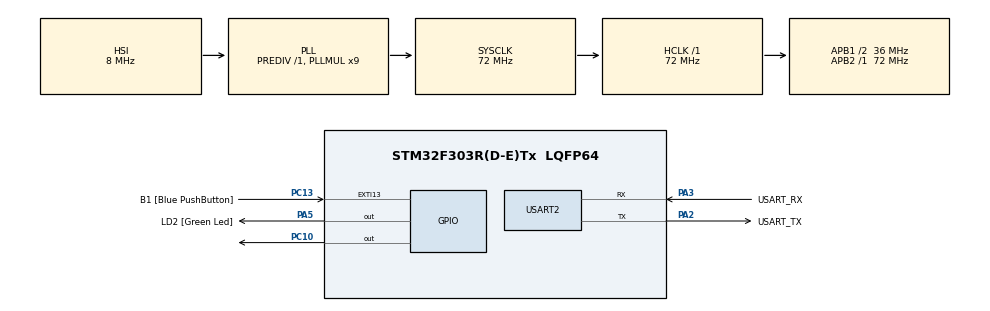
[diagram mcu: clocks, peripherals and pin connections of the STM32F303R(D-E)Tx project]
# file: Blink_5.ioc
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Mcu.Family=STM32F3
Mcu.Name=STM32F303R(D-E)Tx
Mcu.Package=LQFP64
NVIC.PriorityGroup=NVIC_PRIORITYGROUP_0
PA13.GPIO_Label=TMS
PA13.Mode=Serial_Wire
PA13.Signal=SYS_JTMS-SWDIO
PA14.GPIO_Label=TCK
PA14.Mode=Serial_Wire
PA14.Signal=SYS_JTCK-SWCLK
PA2.GPIO_Label=USART_TX
PA2.GPIO_Mode=GPIO_MODE_AF_PP
PA2.GPIO_PuPd=GPIO_NOPULL
PA2.GPIO_Speed=GPIO_SPEED_FREQ_LOW
PA2.Mode=Asynchronous
PA2.Signal=USART2_TX
PA3.GPIO_Label=USART_RX
PA3.GPIO_Mode=GPIO_MODE_AF_PP
PA3.GPIO_PuPd=GPIO_NOPULL
PA3.GPIO_Speed=GPIO_SPEED_FREQ_LOW
PA3.Mode=Asynchronous
PA3.Signal=USART2_RX
PA5.GPIO_Label=LD2 [Green Led]
PA5.GPIO_Mode=GPIO_MODE_OUTPUT_PP
PA5.GPIO_PuPd=GPIO_NOPULL
PA5.GPIO_Speed=GPIO_SPEED_FREQ_LOW
PA5.Signal=GPIO_Output
PB3.GPIO_Label=SWO
PB3.Signal=SYS_JTDO-TRACESWO
PC10.Signal=GPIO_Output
PC13.GPIO_Label=B1 [Blue PushButton]
PC13.GPIO_ModeDefaultEXTI=GPIO_MODE_IT_FALLING
PC13.Signal=GPXTI13
PC14-OSC32_IN.Mode=LSE-External-Oscillator
PC14-OSC32_IN.Signal=RCC_OSC32_IN
PC15-OSC32_OUT.Mode=LSE-External-Oscillator
PC15-OSC32_OUT.Signal=RCC_OSC32_OUT
PF0-OSC_IN.Mode=HSE-External-Clock-Source
PF0-OSC_IN.Signal=RCC_OSC_IN
PF1-OSC_OUT.Signal=RCC_OSC_OUT
ProjectManager.HeapSize=0x200
ProjectManager.StackSize=0x400
ProjectManager.TargetToolchain=STM32CubeIDE
RCC.AHBFreq_Value=72000000
RCC.APB1CLKDivider=RCC_HCLK_DIV2
RCC.APB1Freq_Value=36000000
RCC.APB1TimFreq_Value=72000000
RCC.APB2Freq_Value=72000000
RCC.APB2TimFreq_Value=72000000
RCC.CortexFreq_Value=72000000
RCC.HCLKFreq_Value=72000000
RCC.HSE_VALUE=8000000
RCC.HSI_VALUE=8000000
RCC.PLLM=8
RCC.PLLMUL=RCC_PLL_MUL9
RCC.PLLN=336
RCC.PLLP=RCC_PLLP_DIV4
RCC.PLLQ=7
RCC.RCC_PLLsource_Clock_Source_FROM_HSE=RCC_HSE_PREDIV_DIV2
RCC.SYSCLKFreq_VALUE=72000000
RCC.SYSCLKSourceVirtual=RCC_SYSCLKSOURCE_PLLCLK
RCC.USBFreq_Value=72000000
USART2.VirtualMode-Asynchronous=VM_ASYNC
board=NUCLEO-F303RE

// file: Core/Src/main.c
/* USER CODE BEGIN Header */
/**
  ******************************************************************************
  * @file           : main.c
  * @brief          : Main program body
  ******************************************************************************
  * @attention
  *
  * Copyright (c) 2026 STMicroelectronics.
  * All rights reserved.
  *
  * This software is licensed under terms that can be found in the LICENSE file
  * in the root directory of this software component.
  * If no LICENSE file comes with this software, it is provided AS-IS.
  *
  ******************************************************************************
  */
/* USER CODE END Header */
#include "main.h"

/* USER CODE BEGIN Includes */
#include <string.h>
#include <stdlib.h>
#include <stdio.h>

/* USER CODE END Includes */

UART_HandleTypeDef huart2;

void SystemClock_Config(void);
static void MX_GPIO_Init(void);
static void MX_USART2_UART_Init(void);

/* USER CODE BEGIN 0 */
void uart_send(char *msg)
	{
	HAL_UART_Transmit(&huart2, (uint8_t*)msg, strlen(msg), HAL_MAX_DELAY);
	}

void Command_processor(char *cmd)
	{
	if(strcmp(cmd, "led on") == 0)
	{
		HAL_GPIO_WritePin(GPIOC, GPIO_PIN_10, GPIO_PIN_SET);
		uart_send("LED is ON \r\n");
	}
	else if(strcmp(cmd, "led off") == 0)
	{
		HAL_GPIO_WritePin(GPIOC, GPIO_PIN_10, GPIO_PIN_RESET);
		uart_send("LED is OFF \r\n");
	}
	else if(strcmp(cmd, "status") == 0)
	{
		HAL_GPIO_WritePin(GPIOC, GPIO_PIN_10, GPIO_PIN_SET);
		uart_send("LED: ON \r\nBaud rate: 38400 \r\n");
	}
	else if(strcmp(cmd, "help") == 0)
	{
		uart_send("Available commands: \r\n help \r\n status \r\n led on \r\n led off \r\n blink <count> <delay> \r\n Example: \r\n blink 5 500 \r\n");
	}
	else if(strncmp(cmd, "blink", 5) == 0)
	{
	    // шукаємо перший пробіл після "blink"
	    char *space1 = strchr(cmd, ' ');
	    if(space1 == NULL)
	    {
	        uart_send("error: missing parameters\r\n");
	        return;
	    }

	    // перший аргумент (кількість блимів)
	    char *arg1 = space1 + 1;
	    while(*arg1 == ' ')
	        arg1++;

	    if(*arg1 == '\0')
	    {
	        uart_send("error: missing first parameter\r\n");
	        return;
	    }

	    // шукаємо пробіл між першим і другим параметром
	    char *space2 = strchr(arg1, ' ');
	    if(space2 == NULL)
	    {
	        uart_send("error: missing second parameter\r\n");
	        return;
	    }

	    *space2 = '\0';

	    // другий аргумент (затримка)
	    char *arg2 = space2 + 1;
	    while(*arg2 == ' ')
	        arg2++;

	    if(*arg2 == '\0')
	    {
	        uart_send("error: missing second parameter\r\n");
	        return;
	    }

	    // перевірка, що перший параметр — тільки цифри
	    for(int i = 0; arg1[i] != '\0'; i++)
	    {
	        if(arg1[i] < '0' || arg1[i] > '9')
	        {
	            uart_send("error: invalid first number\r\n");
	            return;
	        }
	    }

	    // перевірка, що другий параметр — тільки цифри
	    for(int i = 0; arg2[i] != '\0'; i++)
	    {
	        if(arg2[i] < '0' || arg2[i] > '9')
	        {
	            uart_send("error: invalid second number\r\n");
	            return;
	        }
	    }

	    int cnt   = atoi(arg1);
	    int delay = atoi(arg2);

	    if(cnt < 1 || cnt > 5)
	    {
	        uart_send("error: count is out of range\r\n");
	        return;
	    }

	    if(delay < 10 || delay > 2000)
	    {
	        uart_send("error: delay is out of range\r\n");
	        return;
	    }

	    for(int blk = 0; blk < cnt; blk++)
	    {
	        HAL_GPIO_WritePin(GPIOC, GPIO_PIN_10, GPIO_PIN_SET);
	        HAL_Delay(delay);
	        HAL_GPIO_WritePin(GPIOC, GPIO_PIN_10, GPIO_PIN_RESET);
	        HAL_Delay(delay);
	    }

	    uart_send("Blink is done\r\n");
	}

	else
	{
		uart_send("Unknown command, please, try again \r\n");
	}
	}
/* USER CODE END 0 */

int main(void)
{

  /* USER CODE BEGIN 1 */
	char buffer[32];
	uint8_t idx = 0;
	uint8_t rx;

  /* USER CODE END 1 */

  /* MCU Configuration--------------------------------------------------------*/

  /* Reset of all peripherals, Initializes the Flash interface and the Systick. */
  HAL_Init();

  /* Configure the system clock */
  SystemClock_Config();

  /* Initialize all configured peripherals */
  MX_GPIO_Init();
  MX_USART2_UART_Init();

  /* Infinite loop */
  /* USER CODE BEGIN WHILE */
  while (1)
  {
	 if(HAL_UART_Receive(&huart2, &rx, 1, 10) == HAL_OK)
	  {
		 HAL_UART_Transmit(&huart2, &rx, 1, 10);

		 if(rx == '\r' || rx == '\n')
		{
		  buffer[idx] = 0;
		  uart_send("CMD: ");
		  uart_send(buffer);
		  uart_send("\r\n");
		  Command_processor(buffer);
		  idx = 0;
		  buffer[0] = 0;
	      }
	  else
	  {
		  if(idx < sizeof(buffer) - 1)
		  {
			  buffer[idx++] = rx;
		  }
	  }
 }

    /* USER CODE END WHILE */

  }
}

void SystemClock_Config(void)
{
  RCC_OscInitTypeDef RCC_OscInitStruct = {0};
  RCC_ClkInitTypeDef RCC_ClkInitStruct = {0};
  RCC_PeriphCLKInitTypeDef PeriphClkInit = {0};

  /** Initializes the RCC Oscillators according to the specified parameters
  * in the RCC_OscInitTypeDef structure.
  */
  RCC_OscInitStruct.OscillatorType = RCC_OSCILLATORTYPE_HSI;
  RCC_OscInitStruct.HSIState = RCC_HSI_ON;
  RCC_OscInitStruct.HSICalibrationValue = RCC_HSICALIBRATION_DEFAULT;
  RCC_OscInitStruct.PLL.PLLState = RCC_PLL_ON;
  RCC_OscInitStruct.PLL.PLLSource = RCC_PLLSOURCE_HSI;
  RCC_OscInitStruct.PLL.PLLMUL = RCC_PLL_MUL9;
  RCC_OscInitStruct.PLL.PREDIV = RCC_PREDIV_DIV1;
  if (HAL_RCC_OscConfig(&RCC_OscInitStruct) != HAL_OK)
  {
    Error_Handler();
  }

  /** Initializes the CPU, AHB and APB buses clocks
  */
  RCC_ClkInitStruct.ClockType = RCC_CLOCKTYPE_HCLK|RCC_CLOCKTYPE_SYSCLK
                              |RCC_CLOCKTYPE_PCLK1|RCC_CLOCKTYPE_PCLK2;
  RCC_ClkInitStruct.SYSCLKSource = RCC_SYSCLKSOURCE_PLLCLK;
  RCC_ClkInitStruct.AHBCLKDivider = RCC_SYSCLK_DIV1;
  RCC_ClkInitStruct.APB1CLKDivider = RCC_HCLK_DIV2;
  RCC_ClkInitStruct.APB2CLKDivider = RCC_HCLK_DIV1;

  if (HAL_RCC_ClockConfig(&RCC_ClkInitStruct, FLASH_LATENCY_2) != HAL_OK)
  {
    Error_Handler();
  }
  PeriphClkInit.PeriphClockSelection = RCC_PERIPHCLK_USART2;
  PeriphClkInit.Usart2ClockSelection = RCC_USART2CLKSOURCE_PCLK1;
  if (HAL_RCCEx_PeriphCLKConfig(&PeriphClkInit) != HAL_OK)
  {
    Error_Handler();
  }
}

static void MX_USART2_UART_Init(void)
{

  huart2.Instance = USART2;
  huart2.Init.BaudRate = 38400;
  huart2.Init.WordLength = UART_WORDLENGTH_8B;
  huart2.Init.StopBits = UART_STOPBITS_1;
  huart2.Init.Parity = UART_PARITY_NONE;
  huart2.Init.Mode = UART_MODE_TX_RX;
  huart2.Init.HwFlowCtl = UART_HWCONTROL_NONE;
  huart2.Init.OverSampling = UART_OVERSAMPLING_16;
  huart2.Init.OneBitSampling = UART_ONE_BIT_SAMPLE_DISABLE;
  huart2.AdvancedInit.AdvFeatureInit = UART_ADVFEATURE_NO_INIT;
  if (HAL_UART_Init(&huart2) != HAL_OK)
  {
    Error_Handler();
  }

}

static void MX_GPIO_Init(void)
{
  GPIO_InitTypeDef GPIO_InitStruct = {0};

  /* GPIO Ports Clock Enable */
  __HAL_RCC_GPIOC_CLK_ENABLE();
  __HAL_RCC_GPIOF_CLK_ENABLE();
  __HAL_RCC_GPIOA_CLK_ENABLE();
  __HAL_RCC_GPIOB_CLK_ENABLE();

  /*Configure GPIO pin Output Level */
  HAL_GPIO_WritePin(LD2_GPIO_Port, LD2_Pin, GPIO_PIN_RESET);

  /*Configure GPIO pin Output Level */
  HAL_GPIO_WritePin(GPIOC, GPIO_PIN_10, GPIO_PIN_RESET);

  /*Configure GPIO pin : B1_Pin */
  GPIO_InitStruct.Pin = B1_Pin;
  GPIO_InitStruct.Mode = GPIO_MODE_IT_FALLING;
  GPIO_InitStruct.Pull = GPIO_NOPULL;
  HAL_GPIO_Init(B1_GPIO_Port, &GPIO_InitStruct);

  /*Configure GPIO pin : LD2_Pin */
  GPIO_InitStruct.Pin = LD2_Pin;
  GPIO_InitStruct.Mode = GPIO_MODE_OUTPUT_PP;
  GPIO_InitStruct.Pull = GPIO_NOPULL;
  GPIO_InitStruct.Speed = GPIO_SPEED_FREQ_LOW;
  HAL_GPIO_Init(LD2_GPIO_Port, &GPIO_InitStruct);

  /*Configure GPIO pin : PC10 */
  GPIO_InitStruct.Pin = GPIO_PIN_10;
  GPIO_InitStruct.Mode = GPIO_MODE_OUTPUT_PP;
  GPIO_InitStruct.Pull = GPIO_NOPULL;
  GPIO_InitStruct.Speed = GPIO_SPEED_FREQ_LOW;
  HAL_GPIO_Init(GPIOC, &GPIO_InitStruct);

}

void Error_Handler(void)
{
  __disable_irq();
  while (1)
  {
  }
}
